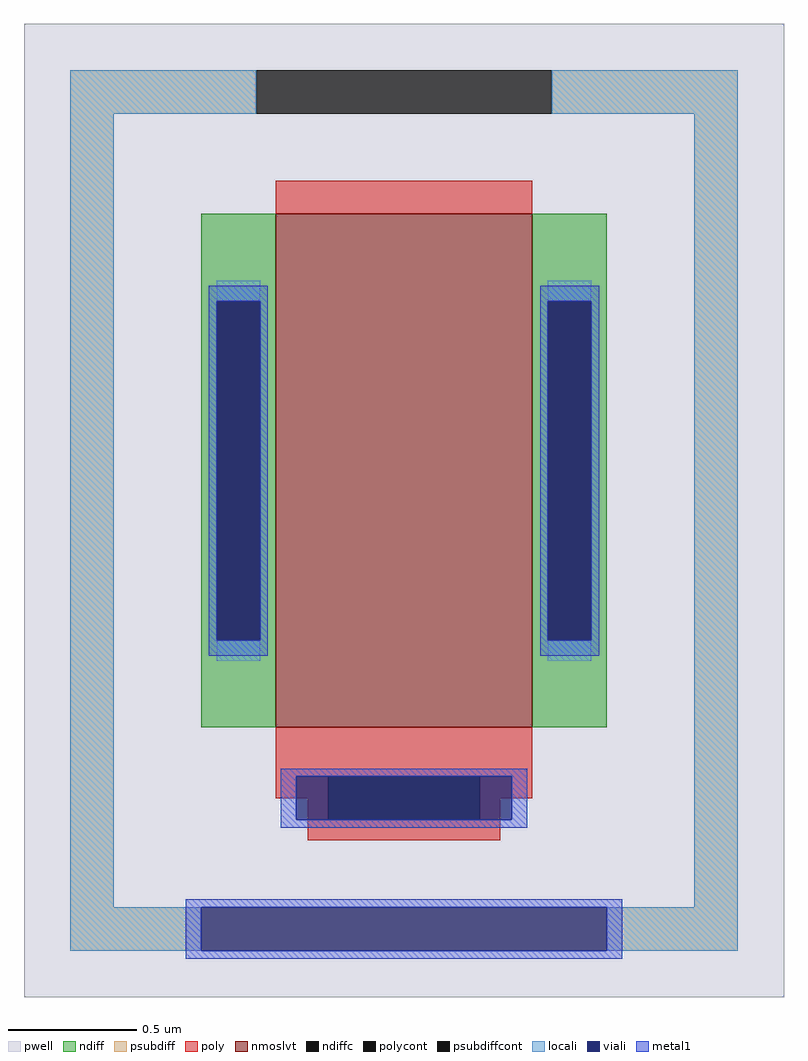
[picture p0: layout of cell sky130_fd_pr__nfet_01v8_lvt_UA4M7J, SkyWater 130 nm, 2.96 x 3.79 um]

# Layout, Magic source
magic
tech sky130A
magscale 1 2
<< pwell >>
rect -296 -379 296 379
<< nmoslvt >>
rect -100 -169 100 231
<< ndiff >>
rect -158 163 -100 231
rect -158 -101 -146 163
rect -112 -101 -100 163
rect -158 -169 -100 -101
rect 100 163 158 231
rect 100 -101 112 163
rect 146 -101 158 163
rect 100 -169 158 -101
<< ndiffc >>
rect -146 -101 -112 163
rect 112 -101 146 163
<< psubdiff >>
rect -260 309 -115 343
rect 115 309 260 343
rect -260 -309 -226 309
rect 226 -309 260 309
rect -260 -343 260 -309
<< psubdiffcont >>
rect -115 309 115 343
<< poly >>
rect -100 231 100 257
rect -100 -207 100 -169
rect -100 -224 -59 -207
rect -75 -241 -59 -224
rect 59 -224 100 -207
rect 59 -241 75 -224
rect -75 -257 75 -241
<< polycont >>
rect -59 -241 59 -207
<< locali >>
rect -260 309 -115 343
rect 115 309 260 343
rect -260 -309 -226 309
rect -146 163 -112 179
rect -146 -117 -112 -101
rect 112 163 146 179
rect 112 -117 146 -101
rect 226 -309 260 309
rect -260 -343 -158 -309
rect 158 -343 260 -309
<< viali >>
rect -146 -101 -112 163
rect 112 -101 146 163
rect -84 -241 -59 -207
rect -59 -241 59 -207
rect 59 -241 84 -207
rect -158 -343 158 -309
<< metal1 >>
rect -152 163 -106 175
rect -152 -101 -146 163
rect -112 -101 -106 163
rect -152 -113 -106 -101
rect 106 163 152 175
rect 106 -101 112 163
rect 146 -101 152 163
rect 106 -113 152 -101
rect -96 -207 96 -201
rect -96 -241 -84 -207
rect 84 -241 96 -207
rect -96 -247 96 -241
rect -170 -309 170 -303
rect -170 -343 -158 -309
rect 158 -343 170 -309
rect -170 -349 170 -343
<< properties >>
string FIXED_BBOX -243 -326 243 326
string gencell sky130_fd_pr__nfet_01v8_lvt
string library sky130
string parameters w 2.0 l 1.0 m 1 nf 1 diffcov 70 polycov 70 guard 1 glc 0 grc 0 gtc 1 gbc 0 tbcov 70 rlcov 70 topc 0 botc 1 poverlap 0 doverlap 1 lmin 0.15 wmin 0.42 compatible {sky130_fd_pr__nfet_01v8 sky130_fd_pr__nfet_01v8_lvt  sky130_fd_bs_flash__special_sonosfet_star  sky130_fd_pr__nfet_g5v0d10v5 sky130_fd_pr__nfet_05v0_nvt  sky130_fd_pr__nfet_03v3_nvt} full_metal 1 viasrc 70 viadrn 70 viagate 100 viagb 70 viagr 0 viagl 0 viagt 0
<< end >>
